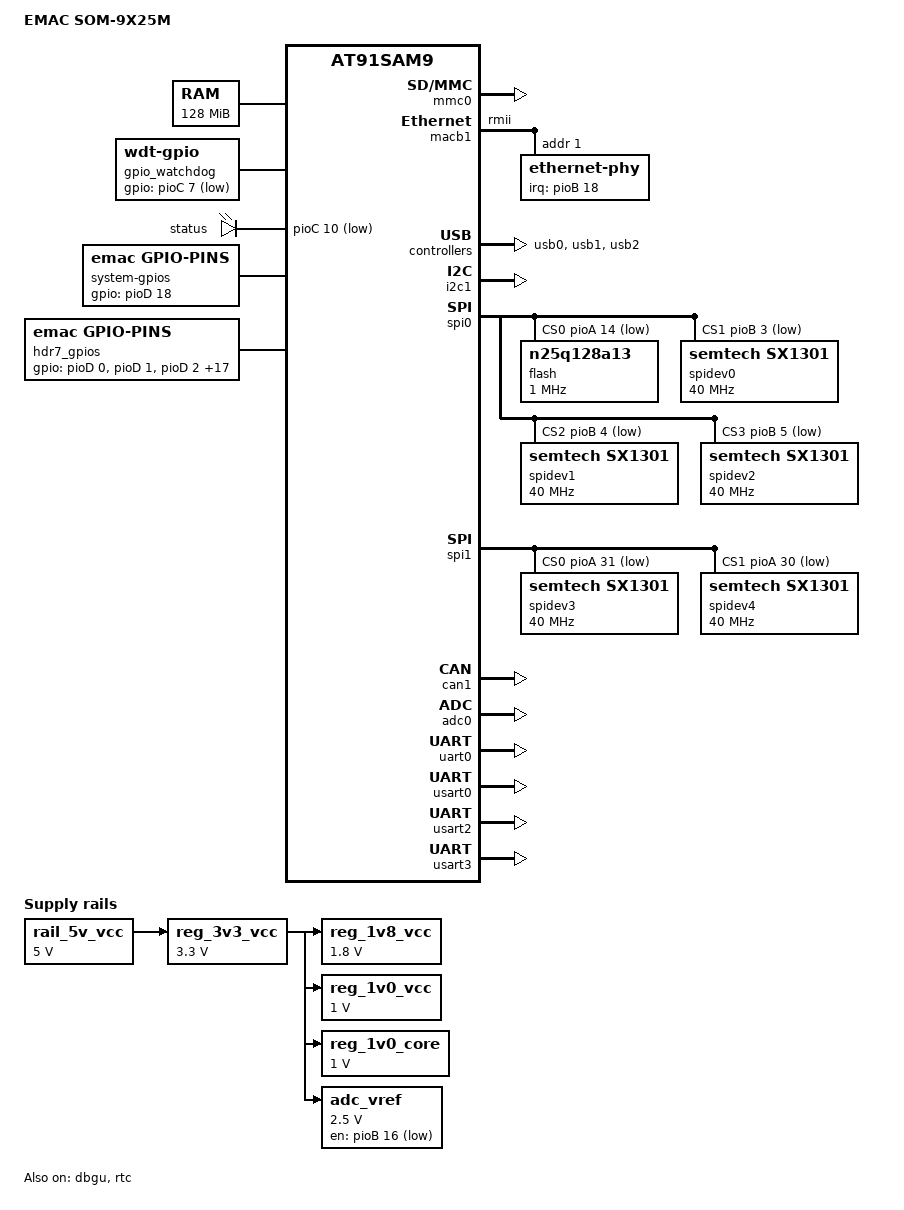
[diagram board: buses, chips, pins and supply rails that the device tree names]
/*
 * SoM-9x25m.dts - Device Tree file for the SoM-9x25m.
 *
 *  Copyright (C) 2014 EMAC Inc.
 *
 * Licensed under GPLv2 or later.
 */
/dts-v1/;
#include "at91sam9x25.dtsi"

/ {
	model = "EMAC SOM-9X25M";
	compatible = "atmel,at91sam9x25ek", "atmel,at91sam9x5ek", "atmel,at91sam9x5", "atmel,at91sam9";

	aliases {
		serial0 = &usart3;
		serial1 = &usart0;
		serial3 = &uart0;
		serial4 = &usart2;
		serial5 = &dbgu;
		spi0 = &spi0;
		spi1 = &spi1;
	};

	chosen {
		bootargs = "root=/dev/sda1 rootfstype=ext4 rw rootwait";
		stdout-path = "serial5:115200n8";
	};

	memory@20000000 {
		reg = <0x20000000 0x8000000>;
	};

	clocks {
		#address-cells = <1>;
		#size-cells = <1>;
		ranges;

		slow_xtal {
			clock-frequency = <32768>;
		};

		main_xtal {
			clock-frequency = <12000000>;
		};
	};

	regulators {
		compatible = "simple-bus";
		#address-cells = <1>;
		#size-cells = <0>;

		rail_5v_vcc: rail_5v_vcc {
			compatible = "regulator-fixed";
			regulator-name = "5V_POWER_IN";
			regulator-min-microvolt = <5000000>;
			regulator-max-microvolt = <5000000>;
			regulator-always-on;
		};
		reg_3v3_vcc: reg_3v3_vcc {
			compatible = "regulator-fixed";
			regulator-name = "3V3_VCC";
			regulator-min-microvolt = <3300000>;
			regulator-max-microvolt = <3300000>;
			regulator-always-on;
			vin-supply = <&rail_5v_vcc>;
		};
		reg_1v8_vcc: reg_1v8_vcc {
			compatible = "regulator-fixed";
			regulator-name = "1V8_VCC";
			regulator-min-microvolt = <1800000>;
			regulator-max-microvolt = <1800000>;
			regulator-always-on;
			vin-supply = <&reg_3v3_vcc>;
		};
		reg_1v0_vcc: reg_1v0_vcc {
			compatible = "regulator-fixed";
			regulator-name = "1V0_VCC";
			regulator-min-microvolt = <1000000>;
			regulator-max-microvolt = <1000000>;
			regulator-always-on;
			vin-supply = <&reg_3v3_vcc>;
		};
		reg_1v0_core: reg_1v0_core {
			compatible = "regulator-fixed";
			regulator-name = "1V0_CORE";
			regulator-min-microvolt = <1000000>;
			regulator-max-microvolt = <1000000>;
			regulator-always-on;
			vin-supply = <&reg_3v3_vcc>;
		};
		adc_vref: adc_vref {
			compatible = "regulator-fixed";
			regulator-name = "ADC_VREF";
			regulator-min-microvolt = <2500000>;
			regulator-max-microvolt = <2500000>;
			gpio = <&pioB 16 GPIO_ACTIVE_LOW>;
			vin-supply = <&reg_3v3_vcc>;
		};
	};
	
	gpio_watchdog: gpio-watchdog {
		/* MAX6747 */
		compatible = "linux,wdt-gpio";
		pinctrl-names = "default";
		pinctrl-0 = <&pinctrl_wdt_pulse &pinctrl_wdt_en>;
		gpios = <&pioC 7 GPIO_ACTIVE_LOW>;
		hw_algo = "toggle";
		always-running;
		hw_margin_ms = <1000>;
	};

	ahb {
		apb {
			at91_pinctrl: pinctrl@fffff400 {
				led_gpio {
					pinctrl_led: led-board {
						atmel,pins =
							<AT91_PIOC 10 AT91_PERIPH_GPIO AT91_PINCTRL_NONE>;
					};
				};
			};
		};
	};

	gpio-leds {
		compatible = "gpio-leds";
		pinctrl-names = "default";
		pinctrl-0 = <&pinctrl_led>;
		led-stat {
			label = "status";
			gpios = <&pioC 10 1>;
			default-state = "on";
			linux,default-trigger = "none";
		};
	};

	system-gpios {
		pinctrl-names = "default";
		pinctrl-0 = <&pinctrl_system_gpios>;
		compatible = "emac,gpio-pins";
		status = "okay";
		gpios = <&pioD 18 GPIO_ACTIVE_HIGH>;

		gpio-line-names = 	"OTG_VBUS_EN";
	};

	hdr7_gpios: hdr7-gpios {
		/* Re configure this node to take any of the conflicting pins out */
		pinctrl-names = "default";
		pinctrl-0 = <&pinctrl_hdr7_gpio>;
		compatible = "emac,gpio-pins";
		status = "okay";
		gpios = <&pioD 0 GPIO_ACTIVE_HIGH>,
				<&pioD 1 GPIO_ACTIVE_HIGH>,
				<&pioD 2 GPIO_ACTIVE_HIGH>,
				<&pioD 3 GPIO_ACTIVE_HIGH>,
				<&pioD 4 GPIO_ACTIVE_HIGH>,
				<&pioD 5 GPIO_ACTIVE_HIGH>,
				<&pioD 6 GPIO_ACTIVE_HIGH>,
				<&pioD 7 GPIO_ACTIVE_HIGH>,
				<&pioD 8 GPIO_ACTIVE_HIGH>,
				<&pioD 9 GPIO_ACTIVE_HIGH>,
				<&pioD 10 GPIO_ACTIVE_HIGH>,
				<&pioD 11 GPIO_ACTIVE_HIGH>,
				<&pioD 12 GPIO_ACTIVE_HIGH>,
				<&pioD 13 GPIO_ACTIVE_HIGH>,
				<&pioD 14 GPIO_ACTIVE_HIGH>,
				<&pioD 15 GPIO_ACTIVE_HIGH>,
				<&pioD 16 GPIO_ACTIVE_HIGH>,
				<&pioD 17 GPIO_ACTIVE_HIGH>,
				<&pioD 18 GPIO_ACTIVE_HIGH>,
				<&pioD 19 GPIO_ACTIVE_HIGH>;

		gpio-line-names = 	"HDR7_2",
		 					"HDR7_4",
							"HDR7_6",
							"HDR7_8",
							"HDR7_10",
							"HDR7_12",
							"HDR7_14",
							"HDR7_16",
							"HDR7_18",
							"HDR7_20",
							"HDR7_22",
							"HDR7_24",
							"HDR7_26",
							"HDR7_28",
							"HDR7_30",
							"HDR7_32",
							"HDR7_34",
							"HDR7_36",
							"HDR7_38",
							"HDR7_40";
	};
};

&mmc0 {
	pinctrl-names = "default";
	pinctrl-0 = <
		&pinctrl_mmc0_slot0_clk_cmd_dat0
		&pinctrl_mmc0_slot0_dat1_3>;
	status = "okay";
	
	slot@0 {
		reg = <0>;
		bus-width = <4>;
		cd-gpios = <&pioC 4 GPIO_ACTIVE_LOW>;
	};
};

&macb1 {
	phy-mode = "rmii";
	status = "okay";

	#address-cells = <1>;
	#size-cells = <0>;

	ethernet-phy@1 {
		reg = <0x1>;
		micrel,led-mode = <1>;
		interrupt-parent = <&pioB>;
		interrupts = <18 IRQ_TYPE_LEVEL_LOW>;
	};
};

&usb0 {
	num-ports = <3>;
	status = "okay";
};

&usb1 {
	status = "okay";
};

&usb2 {
	status = "okay";
};

&i2c0 {
	/* Conflicts with spi1 cs0 (spidev0) and cs1 (spidev1)*/
	status = "disabled";
};

&i2c1 {
	status = "okay";
};

&spi0 {
	pinctrl-name = "default";
	pinctrl-0 = <&pinctrl_spi0 &pinctrl_spi0_cs>;
	cs-gpios = <&pioA 14 GPIO_ACTIVE_LOW>,
				<&pioB 3 GPIO_ACTIVE_LOW>,
				<&pioB 4 GPIO_ACTIVE_LOW>,
				<&pioB 5 GPIO_ACTIVE_LOW>;
	status = "okay";

	flash: m25p80@0 {
		compatible = "n25q128a13", "jedec,spi-nor";
		spi-max-frequency = <1000000>;
		reg = <0>;
		status = "okay";
	};

	spidev0: spidev@1 {
		compatible = "semtech,sx1301";
		spi-max-frequency = <40000000>;
		reg = <1>;
	};

	spidev1: spidev@2 {
		compatible = "semtech,sx1301";
		spi-max-frequency = <40000000>;
		reg = <2>;
	};

	spidev2: spidev@3 {
		compatible = "semtech,sx1301";
		spi-max-frequency = <40000000>;
		reg = <3>;
	};
};

&spi1 {
	pinctrl-name = "default";
	pinctrl-0 = <&pinctrl_spi1 &pinctrl_spi1_cs>;
	cs-gpios = <&pioA 31 GPIO_ACTIVE_LOW
			&pioA 30 GPIO_ACTIVE_LOW>;
	status = "okay";

	spidev3: spidev@0 {
		compatible = "semtech,sx1301";
		spi-max-frequency = <40000000>;
		reg = <0>;
	};

	spidev4: spidev@1 {
		compatible = "semtech,sx1301";
		spi-max-frequency = <40000000>;
		reg = <1>;
	};
};

&can1 {
	status = "okay";
};

&adc0 {
	pinctrl-names = "default";
	pinctrl-0 = <&pinctrl_adc0>;
	status = "okay";
	atmel,adc-channels-used = <0x7f>;
};

&ssc0 {
	// Available on HDR5
	status = "disabled";
};

&dbgu { // COM E DEBUG
	status = "okay";
};

&uart0 { // COM A
	status = "okay";
};

&usart0 { // COM B
	pinctrl-0 = <&pinctrl_usart0 &pinctrl_usart0_rts &pinctrl_usart0_cts>;
	atmel,use-dma-rx;
	atmel,use-dma-tx;
	rs485-rts-delay = <0 1>;
	status = "okay";
};

&usart2 { // COM D
	status = "okay";
};

&usart3 { // COM C
	pinctrl-0 = < &pinctrl_usart3 &pinctrl_usart3_rts &pinctrl_usart3_cts>;
	atmel,use-dma-rx;
	atmel,use-dma-tx;
	/*
		DCD - PA4
		DSR - PC26
		DTR - PB2
		RI - PB15
	*/
	status = "okay";
};

&rtc {
	status = "okay";
};

&tcb0 {
	timer@0 {
		compatible = "atmel,tcb-timer";
		reg = <0>;
	};
};

&at91_pinctrl {
	pinctrl-names = "default";
	pinctrl-0 = <
		&pinctrl_macb_phy_irq
		&pinctrl_macb_phy_clk_en
		&pinctrl_usb_hub_en
	>;

	adc0 {
		pinctrl_adc0: adc0-board {
			atmel,pins =
				<AT91_PIOB 11 AT91_PERIPH_A AT91_PINCTRL_NONE
				 AT91_PIOB 12 AT91_PERIPH_A AT91_PINCTRL_NONE
				 AT91_PIOB 13 AT91_PERIPH_A AT91_PINCTRL_NONE
				 AT91_PIOB 14 AT91_PERIPH_A AT91_PINCTRL_NONE>;
		};
	};

	gpio {
		pinctrl_system_gpios: system-gpios {
			atmel,pins =
				<AT91_PIOD 0  AT91_PERIPH_GPIO AT91_PINCTRL_PULL_DOWN>;
		};
		pinctrl_hdr7_gpio: hdr7-board {
			atmel,pins =
				<AT91_PIOD 0  AT91_PERIPH_GPIO AT91_PINCTRL_PULL_DOWN
				 AT91_PIOD 1  AT91_PERIPH_GPIO AT91_PINCTRL_PULL_DOWN
				 AT91_PIOD 2  AT91_PERIPH_GPIO AT91_PINCTRL_PULL_DOWN
				 AT91_PIOD 3  AT91_PERIPH_GPIO AT91_PINCTRL_PULL_DOWN
				 AT91_PIOD 4  AT91_PERIPH_GPIO AT91_PINCTRL_PULL_DOWN
				 AT91_PIOD 5  AT91_PERIPH_GPIO AT91_PINCTRL_PULL_DOWN
				 AT91_PIOD 6  AT91_PERIPH_GPIO AT91_PINCTRL_PULL_DOWN
				 AT91_PIOD 7  AT91_PERIPH_GPIO AT91_PINCTRL_PULL_DOWN
				 AT91_PIOD 8  AT91_PERIPH_GPIO AT91_PINCTRL_PULL_DOWN
				 AT91_PIOD 9  AT91_PERIPH_GPIO AT91_PINCTRL_PULL_DOWN
				 AT91_PIOD 10 AT91_PERIPH_GPIO AT91_PINCTRL_PULL_DOWN
				 AT91_PIOD 11 AT91_PERIPH_GPIO AT91_PINCTRL_PULL_DOWN
				 AT91_PIOD 12 AT91_PERIPH_GPIO AT91_PINCTRL_PULL_DOWN
				 AT91_PIOD 13 AT91_PERIPH_GPIO AT91_PINCTRL_PULL_DOWN
				 AT91_PIOD 14 AT91_PERIPH_GPIO AT91_PINCTRL_PULL_DOWN
				 AT91_PIOD 15 AT91_PERIPH_GPIO AT91_PINCTRL_PULL_DOWN
				 AT91_PIOD 16 AT91_PERIPH_GPIO AT91_PINCTRL_PULL_DOWN
				 AT91_PIOD 17 AT91_PERIPH_GPIO AT91_PINCTRL_PULL_DOWN
				 AT91_PIOD 18 AT91_PERIPH_GPIO AT91_PINCTRL_PULL_DOWN
				 AT91_PIOD 19 AT91_PERIPH_GPIO AT91_PINCTRL_PULL_DOWN>;
		};
	};

	spi0 {
		pinctrl_spi0_cs: spi0-board {
			atmel,pins =
				<AT91_PIOA 14 AT91_PERIPH_GPIO AT91_PINCTRL_PULL_UP
				AT91_PIOB 3 AT91_PERIPH_GPIO AT91_PINCTRL_PULL_UP
				AT91_PIOB 4 AT91_PERIPH_GPIO AT91_PINCTRL_PULL_UP
				AT91_PIOB 5 AT91_PERIPH_GPIO AT91_PINCTRL_PULL_UP>;
		};
	};

	spi1 {
		pinctrl_spi1_cs: spi1-board {
			atmel,pins =
				<AT91_PIOA 30 AT91_PERIPH_GPIO AT91_PINCTRL_PULL_UP
				 AT91_PIOA 31 AT91_PERIPH_GPIO AT91_PINCTRL_PULL_UP>;
		};
	};

	wdt_gpio {
		pinctrl_wdt_pulse: wdt-pulse-board {
			atmel,pins =
				<AT91_PIOC 6 AT91_PERIPH_GPIO AT91_PINCTRL_PULL_UP>;
		};
		pinctrl_wdt_en: wdt-en-board {
			atmel,pins =
				<AT91_PIOC 7 AT91_PERIPH_GPIO AT91_PINCTRL_PULL_DOWN>;
		};
		pinctrl_wdt_dis: wdt-dis-board {
			atmel,pins =
				<AT91_PIOC 7 AT91_PERIPH_GPIO AT91_PINCTRL_PULL_UP>;
		};
	};
	macb {
		pinctrl_macb_phy_irq: macb-phy-irq-0 {
			atmel,pins =
				<AT91_PIOB 18 AT91_PERIPH_GPIO AT91_PINCTRL_PULL_UP>;
		};
		pinctrl_macb_phy_clk_en: macb-phy-clk-en-0 {
			atmel,pins =
				<AT91_PIOB 17 AT91_PERIPH_GPIO AT91_PINCTRL_PULL_UP>;
		};
	};
	usb {
		pinctrl_usb_hub_en: usb-hub-en-0 {
			atmel,pins =
				<AT91_PIOB 7 AT91_PERIPH_GPIO AT91_PINCTRL_PULL_UP
				 AT91_PIOB 6 AT91_PERIPH_GPIO AT91_PINCTRL_PULL_UP>;
		};
	};
};
